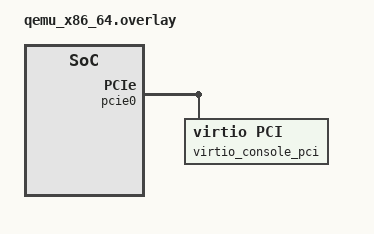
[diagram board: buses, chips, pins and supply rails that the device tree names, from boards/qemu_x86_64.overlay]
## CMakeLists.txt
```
# SPDX-FileCopyrightText: Copyright (c) 2026 Process Mission
# SPDX-License-Identifier: Apache-2.0

cmake_minimum_required(VERSION 3.28.0)
find_package(Zephyr REQUIRED HINTS $ENV{ZEPHYR_BASE})
project(uart_virtio_console)

if(TEST_SMP_LOCK_ORDER)
  target_sources(app PRIVATE src/smp_lock_order.c)
  target_link_options(app PUBLIC "LINKER:--wrap=z_impl_k_event_clear")
else()
  target_sources(app PRIVATE src/main.c)
endif()
```

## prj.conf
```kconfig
# SPDX-FileCopyrightText: Copyright (c) 2026 Process Mission
# SPDX-License-Identifier: Apache-2.0

CONFIG_ZTEST=y
CONFIG_SERIAL=y
CONFIG_UART_INTERRUPT_DRIVEN=y
CONFIG_PCIE=y
CONFIG_IRQ_OFFLOAD=y
# Keep all IRQ handling on the test CPU so local interrupt masking can hold
# completion processing while a poll_out() call checks the queue.
CONFIG_MP_MAX_NUM_CPUS=1
```

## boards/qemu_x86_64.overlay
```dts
/*
 * Copyright (c) 2026 Process Mission
 *
 * SPDX-License-Identifier: Apache-2.0
 */

/ {
	chosen {
		zephyr,console = &virtio_console;
	};
};

&pcie0 {
	virtio_console_pci: virtio-console-pci {
		compatible = "virtio,pci";

		vendor-id = <0x1af4>;
		device-id = <0x1003>;

		interrupts = <0xb 0x0 0x0>;
		interrupt-parent = <&intc>;

		status = "okay";

		virtio_console: virtio-console {
			compatible = "virtio,console";
			status = "okay";
		};
	};
};

/* The board enables a virtio-input PCI device that this test does not provide
 * in QEMU. Disable it so the virtio-pci driver does not try to initialize a
 * device that is not present.
 */
&virtio_input_pci {
	status = "disabled";
};
```

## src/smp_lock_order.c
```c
/*
 * SPDX-FileCopyrightText: Copyright The Zephyr Project Contributors
 * SPDX-License-Identifier: Apache-2.0
 */

#include <zephyr/device.h>
#include <zephyr/drivers/uart.h>
#include <zephyr/kernel.h>
#include <zephyr/sys/atomic.h>
#include <zephyr/ztest.h>

static atomic_t scheduler_locked;
static atomic_t clear_entered;
static atomic_t intercept_clear;

uint32_t __real_z_impl_k_event_clear(struct k_event *event, uint32_t events);

uint32_t __wrap_z_impl_k_event_clear(struct k_event *event, uint32_t events)
{
	if (atomic_cas(&intercept_clear, 1, 0)) {
		unsigned int key = irq_lock();
		uint32_t result;

		/* Prevent a timer ISR from entering the scheduler during the handshake. */
		atomic_set(&clear_entered, 1);
		while (atomic_get(&scheduler_locked) == 0) {
			arch_nop();
		}
		result = __real_z_impl_k_event_clear(event, events);
		irq_unlock(key);
		return result;
	}
	return __real_z_impl_k_event_clear(event, events);
}

static void yielding_sender(void *p1, void *p2, void *p3)
{
	const struct device *console = DEVICE_DT_GET(DT_CHOSEN(zephyr_console));

	ARG_UNUSED(p1);
	ARG_UNUSED(p2);
	ARG_UNUSED(p3);
	atomic_set(&intercept_clear, 1);
	uart_poll_out(console, 'A');
}

static void scheduler_sender(void *p1, void *p2, void *p3)
{
	extern struct k_spinlock _sched_spinlock;
	const struct device *console = DEVICE_DT_GET(DT_CHOSEN(zephyr_console));
	k_spinlock_key_t key;

	ARG_UNUSED(p1);
	ARG_UNUSED(p2);
	ARG_UNUSED(p3);
	while (atomic_get(&clear_entered) == 0) {
		arch_nop();
	}
	key = k_spin_lock(&_sched_spinlock);
	atomic_set(&scheduler_locked, 1);
	uart_poll_out(console, 'B');
	k_spin_unlock(&_sched_spinlock, key);
}

ZTEST(virtio_console_smp, test_scheduler_and_tx_lock_order)
{
	static K_THREAD_STACK_DEFINE(sender_stack, 2048);
	static K_THREAD_STACK_DEFINE(scheduler_stack, 2048);
	static struct k_thread sender;
	static struct k_thread scheduler;
	const struct device *console = DEVICE_DT_GET(DT_CHOSEN(zephyr_console));

	zassert_true(device_is_ready(console));
	k_thread_create(&sender, sender_stack, K_THREAD_STACK_SIZEOF(sender_stack), yielding_sender,
			NULL, NULL, NULL, K_PRIO_PREEMPT(0), 0, K_FOREVER);
	k_thread_create(&scheduler, scheduler_stack, K_THREAD_STACK_SIZEOF(scheduler_stack),
			scheduler_sender, NULL, NULL, NULL, K_PRIO_PREEMPT(0), 0, K_FOREVER);
	zassert_ok(k_thread_cpu_pin(&sender, 0));
	zassert_ok(k_thread_cpu_pin(&scheduler, 1));
	/* CPU 1 waits until CPU 0 reaches the wrapped event clear. */
	k_thread_start(&scheduler);
	k_thread_start(&sender);
	zassert_ok(k_thread_join(&sender, K_SECONDS(2)));
	zassert_ok(k_thread_join(&scheduler, K_SECONDS(2)));
	zassert_equal(atomic_get(&clear_entered), 1);
}

ZTEST_SUITE(virtio_console_smp, NULL, NULL, NULL, NULL, NULL);
```
